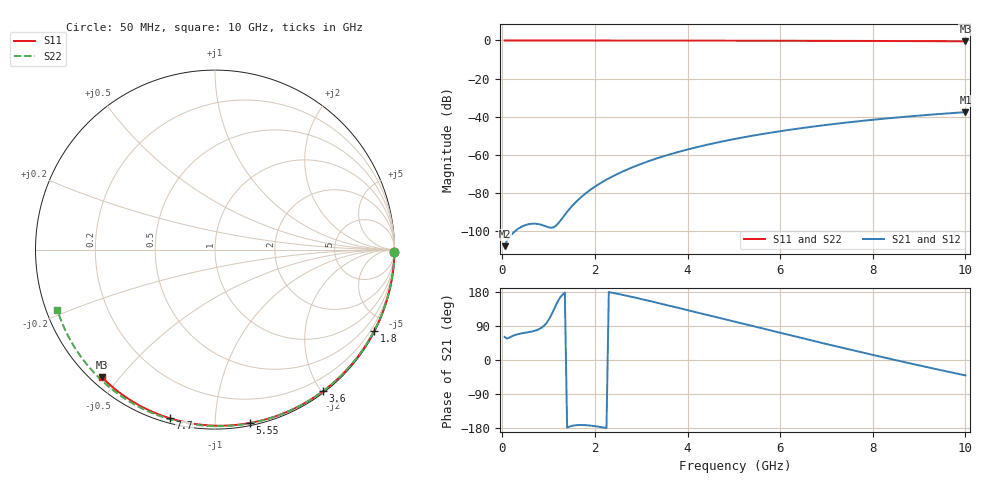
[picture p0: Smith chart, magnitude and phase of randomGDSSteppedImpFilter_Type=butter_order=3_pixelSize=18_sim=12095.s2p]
! freq	dB(S11)	phase(S11)	dB(S12)	phase(S12)
!  dB(S21)	phase(S21)	dB(S22)	phase(S22)
!S-par simulation data
#  GHz  S  DB  R 50
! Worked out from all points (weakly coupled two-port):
!   200 points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, 50 MHz to 10 GHz, reference 50 ohm
!   highest |S21| = -37.59 dB at 10 GHz (marker M1); lowest = -107.9 dB at 50 MHz (marker M2)
!   lowest |S11| = -0.4 dB at 10 GHz (marker M3), VSWR 39.14, Z = 1.54 - j22.5 ohm
!   |S11| at or under -10 dB: nowhere
!   |S22| runs from -0.5 to 0.0 dB; largest |S21 - S12| = 0
!   S11 on the Smith chart (normalised r, x): 50 MHz: open; 1.8 GHz: 0.04, -4.18; 3.6 GHz: 0.02, -2.02; 5.55 GHz: 0.02, -1.22; 7.7 GHz: 0.02, -0.77; 10 GHz: 0.03, -0.45
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0.05  -0.00 -0.8  -107.88 60.8  -107.88 60.8  -0.00 -0.9
0.45  -0.01 -6.8  -97.29 71.1  -97.29 71.1  -0.01 -8.3
0.9  -0.02 -13.6  -97.11 90.3  -97.11 90.3  -0.02 -16.5
1.3  -0.02 -19.6  -93.02 172.3  -93.02 172.3  -0.03 -23.7
1.75  -0.03 -26.2  -81.18 -171.7  -81.18 -171.7  -0.04 -31.7
1.8  -0.03 -26.9  -80.19 -172.0  -80.19 -172.0  -0.04 -32.6
2.15  -0.04 -32.1  -74.38 -177.4  -74.38 -177.4  -0.05 -38.7
2.5  -0.05 -37.1  -69.85 174.4  -69.85 174.4  -0.06 -44.8
2.9  -0.06 -42.8  -65.64 163.7  -65.64 163.7  -0.07 -51.6
3.4  -0.07 -49.9  -61.36 149.4  -61.36 149.4  -0.08 -60.1
3.6  -0.07 -52.7  -59.86 143.5  -59.86 143.5  -0.08 -63.4
3.95  -0.08 -57.5  -57.49 133.1  -57.49 133.1  -0.09 -69.1
4.3  -0.09 -62.2  -55.38 122.5  -55.38 122.5  -0.11 -74.8
5.05  -0.11 -72.2  -51.52 100.0  -51.52 100.0  -0.13 -86.6
5.55  -0.13 -78.7  -49.34 85.0  -49.34 85.0  -0.15 -94.3
6.1  -0.15 -85.6  -47.23 68.6  -47.23 68.6  -0.18 -102.5
6.7  -0.18 -93.1  -45.20 50.9  -45.20 50.9  -0.22 -111.4
7.2  -0.21 -99.1  -43.69 36.4  -43.69 36.4  -0.25 -118.6
7.7  -0.24 -105.1  -42.34 22.0  -42.34 22.0  -0.29 -125.8
8.35  -0.29 -112.7  -40.77 3.7  -40.77 3.7  -0.35 -135.2
9.2  -0.36 -122.4  -39.01 -19.6  -39.01 -19.6  -0.43 -147.4
10  -0.44 -131.5  -37.59 -40.6  -37.59 -40.6  -0.53 -159.1
